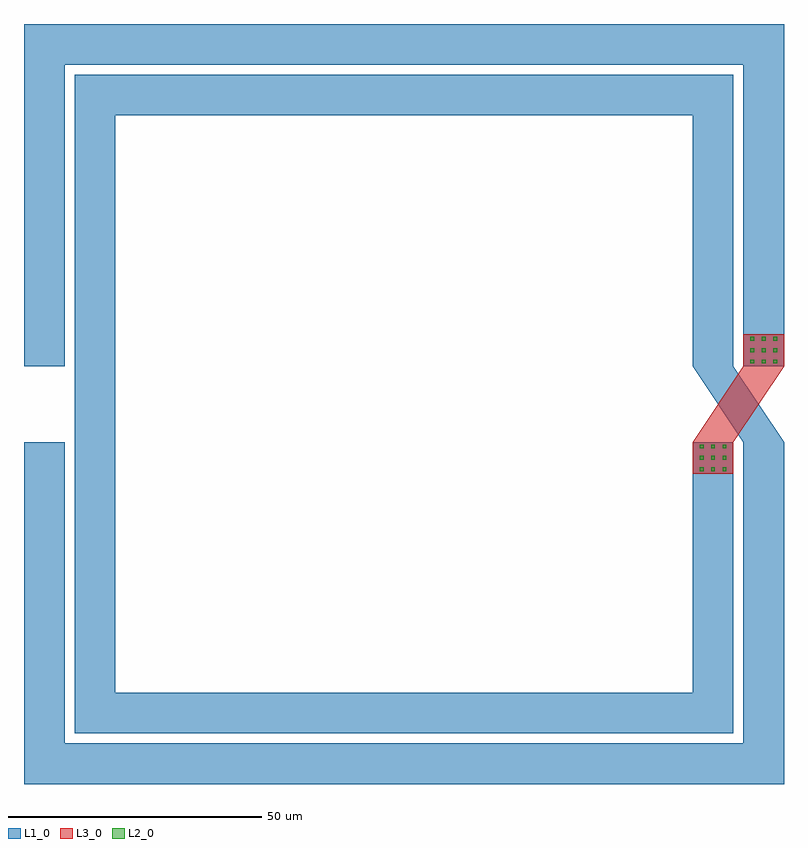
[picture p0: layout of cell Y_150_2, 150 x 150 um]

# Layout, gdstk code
import gdstk
lib = gdstk.Library(unit=1e-6, precision=1e-09)
def R(c, l, rs):  # rectangles x0, y0, x1, y1
    for r in rs: c.add(gdstk.rectangle(r[:2], r[2:], *l))
def A(c, l, x, y, w, h, nx, ny, dx, dy):  # array of equal rectangles
    R(c, l, [(x+i*dx, y+j*dy, x+i*dx+w, y+j*dy+h) for i in range(nx) for j in range(ny)])
def P(c, l, *ps):  # polygons
    for p in ps: c.add(gdstk.Polygon(p, *l))
L1_0 = (1, 0)
L2_0 = (2, 0)
L3_0 = (3, 0)

y_150_2 = lib.new_cell('Y_150_2')
R(y_150_2, L1_0, [(232,168.745,240,174.995), (110,175,118,182.5), (110,182.5,118,190), (242,189.995,250,196.245)])
P(y_150_2, L1_0, [(100,190),(100,257.5),(108,249.5),(108,190)],
  [(108,249.5),(100,257.5),(250,257.5),(242,249.5)],
  [(242,190),(242,249.5),(250,257.5),(250,190)],
  [(240,117.5),(232,125.5),(232,175),(240,175)],
  [(110,117.5),(118,125.5),(232,125.5),(240,117.5)],
  [(110,117.5),(110,175),(118,175),(118,125.5)],
  [(110,190),(110,247.5),(118,239.5),(118,190)],
  [(118,239.5),(110,247.5),(240,247.5),(232,239.5)],
  [(232,190),(232,239.5),(240,247.5),(240,190)],
  [(242,175),(232,190),(240,190),(250,175)],
  [(250,107.5),(242,115.5),(242,175),(250,175)],
  [(100,107.5),(108,115.5),(242,115.5),(250,107.5)],
  [(100,107.5),(100,175),(108,175),(108,115.5)])
A(y_150_2, L2_0, 233.37, 169.25, 0.75, 0.75, 3, 3, 2.25, 2.25)
A(y_150_2, L2_0, 243.37, 190.5, 0.75, 0.75, 3, 3, 2.25, 2.25)
R(y_150_2, L3_0, [(232,168.745,240,174.995), (242,189.995,250,196.245)])
P(y_150_2, L3_0, [(232,175),(242,190),(250,190),(240,175)])

lib.write_gds('Y_150_2.gds')
